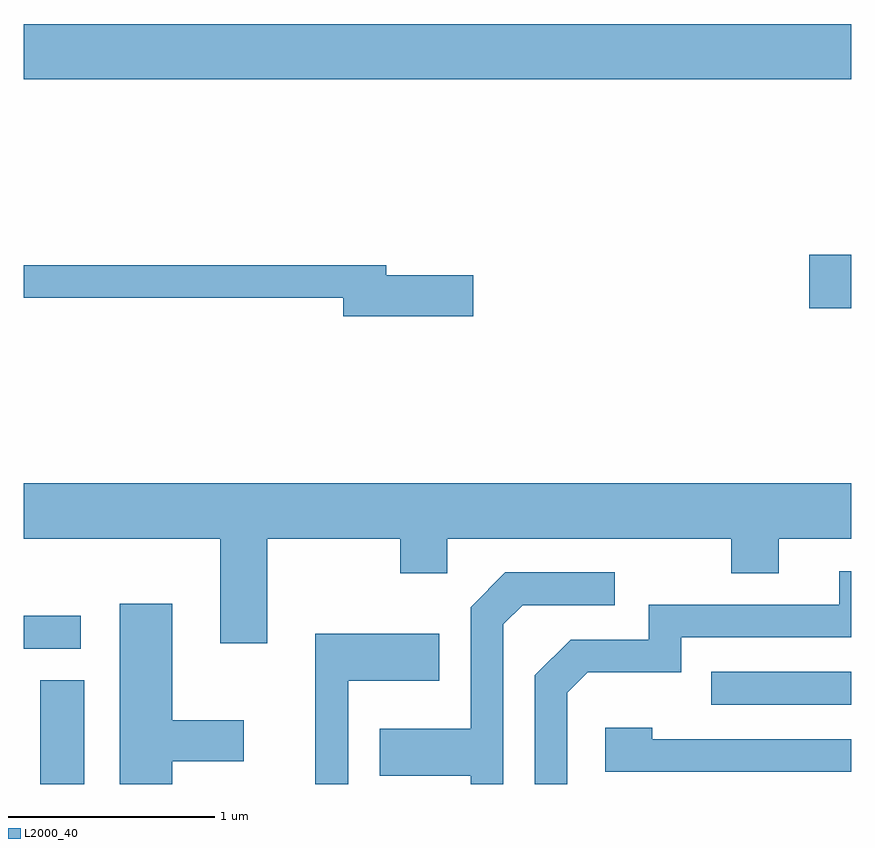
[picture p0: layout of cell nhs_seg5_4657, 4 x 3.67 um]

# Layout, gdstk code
import gdstk
lib = gdstk.Library(unit=1e-6, precision=1e-09)
def R(c, l, rs):  # rectangles x0, y0, x1, y1
    for r in rs: c.add(gdstk.rectangle(r[:2], r[2:], *l))
def P(c, l, *ps):  # polygons
    for p in ps: c.add(gdstk.Polygon(p, *l))
L2000_40 = (2000, 40)

nhs_seg5_4657 = lib.new_cell('nhs_seg5_4657')
R(nhs_seg5_4657, L2000_40, [(323.691,1440.072,323.904,1440.574), (326.933,1440.456,327.611,1440.614), (323.611,1440.726,323.888,1440.884), (327.406,1442.371,327.611,1442.629), (323.611,1443.476,327.611,1443.744)])
P(nhs_seg5_4657, L2000_40, [(325.784,1442.529),(325.364,1442.529),(325.364,1442.579),(323.611,1442.579),(323.611,1442.421),(325.156,1442.421),(325.156,1442.331),(325.784,1442.331)],
  [(324.789,1441.256),(325.431,1441.256),(325.431,1441.091),(325.659,1441.091),(325.659,1441.256),(327.031,1441.256),(327.031,1441.091),(327.259,1441.091),(327.259,1441.256),(327.611,1441.256),(327.611,1441.524),(323.611,1441.524),(323.611,1441.256),(324.561,1441.256),(324.561,1440.751),(324.789,1440.751)],
  [(326.239,1440.514),(326.337,1440.611),(326.789,1440.611),(326.789,1440.781),(327.611,1440.781),(327.611,1441.099),(327.551,1441.099),(327.551,1440.939),(326.631,1440.939),(326.631,1440.769),(326.254,1440.769),(326.081,1440.597),(326.081,1440.072),(326.239,1440.072)],
  [(325.929,1440.844),(326.022,1440.936),(326.468,1440.936),(326.468,1441.094),(325.939,1441.094),(325.771,1440.927),(325.771,1440.339),(325.331,1440.339),(325.331,1440.111),(325.771,1440.111),(325.771,1440.072),(325.929,1440.072)],
  [(324.329,1440.181),(324.674,1440.181),(324.674,1440.379),(324.329,1440.379),(324.329,1440.944),(324.076,1440.944),(324.076,1440.072),(324.329,1440.072)],
  [(325.179,1440.571),(325.619,1440.571),(325.619,1440.799),(325.021,1440.799),(325.021,1440.072),(325.179,1440.072)],
  [(327.611,1440.289),(326.649,1440.289),(326.649,1440.344),(326.421,1440.344),(326.421,1440.131),(327.611,1440.131)])

lib.write_gds('nhs_seg5_4657.gds')
